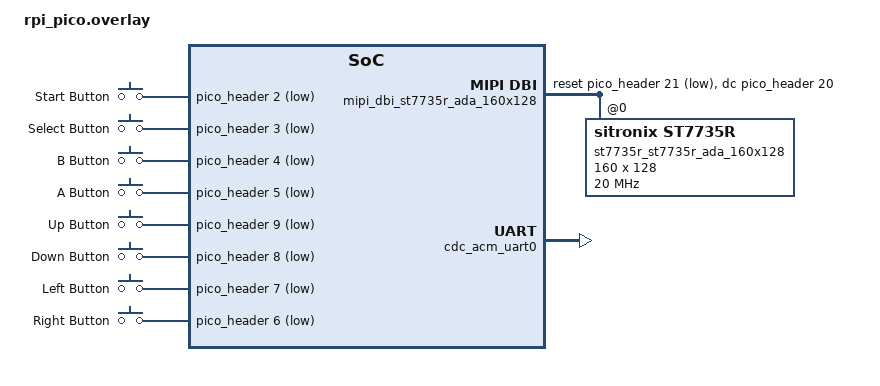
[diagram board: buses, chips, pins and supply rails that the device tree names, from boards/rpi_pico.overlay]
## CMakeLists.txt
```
cmake_minimum_required(VERSION 3.20.0)

find_package(Zephyr REQUIRED HINTS $ENV{ZEPHYR_BASE})
find_package(etl REQUIRED)
FILE(GLOB app_sources src/*.cpp)
# target_compile_options(app PRIVATE -DLUA_32BITS -DLUA_C89_NUMBERS)
target_sources(app PRIVATE ${app_sources})
target_sources(app PRIVATE src/subsystems/display.cpp)
target_sources(app PRIVATE src/subsystems/graphics.cpp)
target_sources(app PRIVATE src/states/page/main_menu.cpp)
project(gb_emu)


if(CONFIG_VROOM_ENABLE_GAMES)
    target_sources(app PRIVATE src/states/game/pong.cpp)
    # target_sources(app PRIVATE src/states/game/snake.cpp)
    # target_sources(app PRIVATE src/states/game/sudoku.cpp)
endif()


if(CONFIG_USE_PHYSICAL_CONTROLS)
    target_sources(app PRIVATE src/subsystems/controls.cpp)
elseif(CONFIG_USE_BT_CONTROLLER)
endif()


if(CONFIG_VROOM_ENABLE_UTILITIES)
    if(CONFIG_VROOM_ENABLE_WIFI)
        target_sources(app PRIVATE src/connectivity/wifi.cpp)
        target_sources(app PRIVATE src/states/page/wifi_page.cpp)
    endif()

    if(CONFIG_VROOM_ENABLE_BT)
        target_sources(app PRIVATE src/connectivity/bt.cpp)
    endif()

    # if(CONFIG_BATTMAN_SEND_BATT_SIGNAL)
    #     target_sources(app PRIVATE src/subsystems/battman.cpp)
    # endif()
endif()

zephyr_include_directories(../modules/etl)

if(CONFIG_LUA)
    zephyr_include_directories(../modules/lua)
endif()


target_link_libraries(app PRIVATE etl::etl)
target_sources(app PRIVATE src/main.cpp)

# if(CONFIG_VROOM_ENABLE_GB_EMULATOR)
#     include_directories(
#         ../emu_core/inc
#         ../emu_core/src
#     )
#     target_sources(app PRIVATE
#         ../emu_core/src/cpu.cpp
#         ../emu_core/src/registers.cpp
#         ../emu_core/src/process.cpp
#         ../emu_core/src/instructions.cpp
#         ../emu_core/src/cart.cpp
#     )
# endif()
```

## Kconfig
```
source "Kconfig.zephyr"

config VROOM_ENABLE_WIFI
	bool "Enable WIFI"
	default n

config VROOM_ENABLE_BT
	bool "Enable Bluetooth"
	default y

config BATTMAN_USE_UTILITY_BELT
	bool "Battman has more tools available with the utility belt"
	default y

config BATTMAN_SEND_BATT_SIGNAL
	bool "Battman has more tools available with the utility belt"
	default y

config USE_PHYSICAL_CONTROLS
	bool "Use the buttons on the console"
	default y

config VROOM_ENABLE_GAMES
	bool "Battman has more tools available with the utility belt"
	default y

config VROOM_ENABLE_GB_EMULATOR
	bool "Battman has more tools available with the utility belt"
	default n

config VROOM_ENABLE_UTILITIES
	bool "Battman has more tools available with the utility belt"
	default y
```

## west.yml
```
# The west manifest file for upstream Zephyr.
#
# The per-installation west configuration file, .west/config, sets the
# path to the project containing this file in the [manifest] section's
# "path" variable.
#
# You are free to create your own manifest files and put them in any
# repository you want, to create your own custom Zephyr installations.
# For example, you could create a manifest file in your own out of
# tree application directory, which would pull this zephyr repository
# in as an ordinary project.
#
# You can pass your manifest repositories to west init when creating a
# new Zephyr installation. See the west documentation for more
# information.

manifest:
  defaults:
    remote: upstream

  remotes:
    - name: upstream
      url-base: https://github.com/zephyrproject-rtos
    - name: etl
      url-base: https://github.com/ETLCPP
    - name: lua
      url-base: https://github.com/tenllado


  #
  # Please add items below based on alphabetical order
  projects:
    - name: zephyr
      remote: upstream
      repo-path: zephyr
      revision: main
      import: true
      path: zephyr
      import:
        path-prefix: deps
        name-allowlist:
          - cmsis      # required by the ARM port
          - hal_atmel # required by the custom_plank board (Nordic based)
          - hal_stm32  # required by the nucleo_f302r8 board (STM32 based)
          - hal_st  # required by the nucleo_f302r8 board (STM32 based)
          - hal_espressif  # required by the nucleo_f302r8 board (STM32 based)
          - hal_xtensa  # required by the nucleo_f302r8 board (STM32 based)
          - lvgl
          - mbedtls
          - mcuboot
          - tinycrypt

    - name: etl_base
      remote: etl
      repo-path: etl
      revision: 20.36.1
      path: deps/modules/etl

    - name: lua_base
      remote: lua
      repo-path: lua
      revision: zephyr
      path: deps/modules/lua

  self:
    path: zephyr
    west-commands: scripts/west-commands.yml
```

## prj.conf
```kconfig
CONFIG_CPP=y
CONFIG_GLIBCXX_LIBCPP=y
# CONFIG_NEWLIB_LIBC=y

# CONFIG_I2C=n
CONFIG_SIZE_OPTIMIZATIONS=y

# Display
CONFIG_DISPLAY=y
CONFIG_DISPLAY_LOG_LEVEL_WRN=y
CONFIG_ST7735R=y

CONFIG_LVGL=y
# CONFIG_LV_MEM_CUSTOM=n
# CONFIG_LV_Z_MEM_POOL_SIZE=16384
CONFIG_LV_Z_MEM_POOL_SIZE=49152
CONFIG_LV_USE_LOG=n
CONFIG_LV_USE_LABEL=y
CONFIG_LV_USE_BTN=y
CONFIG_LV_USE_IMG=y
CONFIG_LV_FONT_MONTSERRAT_20=y
CONFIG_LV_COLOR_16_SWAP=y

# System config
CONFIG_INIT_STACKS=y
CONFIG_MAIN_STACK_SIZE=49152
# CONFIG_LOG=y
# CONFIG_LOG_MAX_LEVEL=0
# CONFIG_LOG_MODE_IMMEDIATE=y

# Console
CONFIG_CONSOLE=y
CONFIG_UART_CONSOLE=y
CONFIG_UART_LINE_CTRL=y

CONFIG_GPIO=y

# for lua
# CONFIG_FILE_SYSTEM=y
# # Choose between NEWLIB_LIBC or CONFIG_PICOLIBC
# # Currently PICOLIBC only requires one missing stub and newlib three
# # But requires the change of pull request https://github.com/zephyrproject-rtos/zephyr/pull/57832
# # CONFIG_NEWLIB_LIBC=y
CONFIG_PICOLIBC=y
# CONFIG_POSIX_API=y
# CONFIG_LUA=y

# CONFIG_THREAD_ANALYZER=y
# CONFIG_THREAD_ANALYZER_USE_LOG=y

# Settings
# CONFIG_STDOUT_CONSOLE=y
# CONFIG_FLASH=y
# CONFIG_FLASH_PAGE_LAYOUT=y
# CONFIG_FLASH_MAP=y

# CONFIG_SETTINGS=y
# CONFIG_SETTINGS_RUNTIME=y


# VROOM
# CONFIG_VROOM_ENABLE_WIFI=y
CONFIG_COMPILER_TRACK_MACRO_EXPANSION=n
# CONFIG_PWM=y

# # MPU 6050 stuff
# CONFIG_I2C=y
# CONFIG_SENSOR=y
# CONFIG_MPU6050_TRIGGER_NONE=n
# CONFIG_CBPRINTF_FP_SUPPORT=y

# CONFIG_LED_STRIP=y
# CONFIG_LED_STRIP_LOG_LEVEL_DBG=y
```

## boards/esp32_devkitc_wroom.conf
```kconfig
CONFIG_HEAP_MEM_POOL_SIZE=2048
CONFIG_NVS=y
CONFIG_SETTINGS_NVS=y
CONFIG_MPU_ALLOW_FLASH_WRITE=y

# Wifi stuff
CONFIG_WIFI=y
CONFIG_INIT_STACKS=y
CONFIG_NET_L2_WIFI_MGMT=y

CONFIG_NETWORKING=y
CONFIG_NET_L2_ETHERNET=y

CONFIG_NET_IPV4=y
CONFIG_NET_IPV6=y
CONFIG_NET_UDP=y
CONFIG_NET_TCP=y
CONFIG_DNS_RESOLVER=y
CONFIG_DNS_RESOLVER_AI_MAX_ENTRIES=10

CONFIG_NET_SOCKETS=y
CONFIG_HTTP_CLIENT=y

# Use DHCP for IPv4
CONFIG_NET_DHCPV4=y

# Or assign a static IP address (useful for testing)
# Following line must be enabled, otherwise WiFi connection fails with -1.
CONFIG_NET_CONFIG_SETTINGS=y
#CONFIG_NET_CONFIG_NEED_IPV4=y
#CONFIG_NET_CONFIG_MY_IPV4_ADDR="192.168.0.12"
#CONFIG_NET_CONFIG_MY_IPV4_GW="192.168.0.254"
#CONFIG_NET_CONFIG_NEED_IPV6=y
#CONFIG_NET_CONFIG_MY_IPV6_ADDR="fe80::100"

# Enabling logging can be helpful for debugging
#CONFIG_NET_LOG=y
#CONFIG_WIFI_LOG_LEVEL_ERR=y
#CONFIG_NET_IPV6_LOG_LEVEL_DBG=y

CONFIG_NET_TX_STACK_SIZE=2048
CONFIG_NET_RX_STACK_SIZE=2048

CONFIG_NET_PKT_RX_COUNT=10
CONFIG_NET_PKT_TX_COUNT=10

CONFIG_NET_BUF_RX_COUNT=20
CONFIG_NET_BUF_TX_COUNT=20

CONFIG_NET_MAX_CONTEXTS=10
```

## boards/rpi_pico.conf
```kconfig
CONFIG_HEAP_MEM_POOL_SIZE=4096
# CONFIG_NVS=y
# CONFIG_SETTINGS_NVS=y
CONFIG_MPU_ALLOW_FLASH_WRITE=y

# # Wifi stuff
# CONFIG_WIFI=y
# CONFIG_INIT_STACKS=y
# CONFIG_NET_L2_WIFI_MGMT=y

# CONFIG_NETWORKING=y
# CONFIG_NET_L2_ETHERNET=y

# CONFIG_NET_IPV4=y
# CONFIG_NET_IPV6=y
# CONFIG_NET_UDP=y
# CONFIG_NET_TCP=y
# CONFIG_DNS_RESOLVER=y
# CONFIG_DNS_RESOLVER_AI_MAX_ENTRIES=10

# CONFIG_NET_SOCKETS=y
# CONFIG_HTTP_CLIENT=y

# # Use DHCP for IPv4
# CONFIG_NET_DHCPV4=y

# Or assign a static IP address (useful for testing)
# Following line must be enabled, otherwise WiFi connection fails with -1.
# CONFIG_NET_CONFIG_SETTINGS=y
# #CONFIG_NET_CONFIG_NEED_IPV4=y
# #CONFIG_NET_CONFIG_MY_IPV4_ADDR="192.168.0.12"
# #CONFIG_NET_CONFIG_MY_IPV4_GW="192.168.0.254"
# #CONFIG_NET_CONFIG_NEED_IPV6=y
# #CONFIG_NET_CONFIG_MY_IPV6_ADDR="fe80::100"

# # Enabling logging can be helpful for debugging
# #CONFIG_NET_LOG=y
# #CONFIG_WIFI_LOG_LEVEL_ERR=y
# #CONFIG_NET_IPV6_LOG_LEVEL_DBG=y

# CONFIG_NET_TX_STACK_SIZE=2048
# CONFIG_NET_RX_STACK_SIZE=2048

# CONFIG_NET_PKT_RX_COUNT=10
# CONFIG_NET_PKT_TX_COUNT=10

# CONFIG_NET_BUF_RX_COUNT=20
# CONFIG_NET_BUF_TX_COUNT=20

# CONFIG_NET_MAX_CONTEXTS=10


CONFIG_USB_DEVICE_STACK=y
CONFIG_USB_DEVICE_PRODUCT="Zephyr USB console sample"
CONFIG_USB_DEVICE_PID=0x0004
CONFIG_USB_DEVICE_INITIALIZE_AT_BOOT=n

CONFIG_SERIAL=y
CONFIG_CONSOLE=y
CONFIG_UART_CONSOLE=y
CONFIG_UART_LINE_CTRL=y
```

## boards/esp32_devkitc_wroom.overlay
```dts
/*
 * Copyright (c) 2020, Kim Bøndergaard, <kim@fam-boendergaard.dk>
 *
 * SPDX-License-Identifier: Apache-2.0
 */

 / {
	chosen {
		zephyr,display = &st7735r_st7735r_ada_160x128;
	};
	buttons {
		compatible = "gpio-keys";
		a_button: a_button {
			gpios = <&gpio0 16 GPIO_ACTIVE_LOW>;
			label = "A Button";
		};
		b_button: b_button {
			gpios = <&gpio0 17 GPIO_ACTIVE_LOW>;
			label = "B Button";
		};
		up_button: up_button {
			gpios = <&gpio0 5 GPIO_ACTIVE_LOW>;
			label = "Up Button";
		};
		down_button: down_button {
			gpios = <&gpio0 18 GPIO_ACTIVE_LOW>;
			label = "Down Button";
		};
		// left_button: left_button {
		// 	gpios = <&gpio0 18 GPIO_ACTIVE_LOW>;
		// 	label = "Left Button";
		// };
		// right_button: right_button {
		// 	gpios = <&gpio0 5 GPIO_ACTIVE_LOW>;
		// 	label = "Right Button";
		// };
		// start_button: start_button {
		// 	gpios = <&gpio0 5 GPIO_ACTIVE_LOW>;
		// 	label = "Start Button";
		// };
		// select_button: select_button {
		// 	gpios = <&gpio0 18 GPIO_ACTIVE_LOW>;
		// 	label = "Select Button";
		// };
	};
};

&spi2 {
	st7735r_st7735r_ada_160x128: st7735r@0 {
		compatible = "sitronix,st7735r";
		spi-max-frequency = <20000000>;
		reg = <0>;
		cmd-data-gpios = <&gpio0 27 GPIO_ACTIVE_LOW>;	/* D9 */
		reset-gpios = <&gpio0 26 GPIO_ACTIVE_LOW>;	/* D8 */
		width = <160>;
		height = <128>;
		x-offset = <0>;
		y-offset = <0>;
		madctl = <0x60>;
		colmod = <0x55>;
		vmctr1 = <0x0e>;
		pwctr1 = [a2 02 84];
		pwctr2 = [c5];
		pwctr3 = [0a 00];
		pwctr4 = [8a 2a];
		pwctr5 = [8a ee];
		frmctr1 = [01 2c 2d];
		frmctr2 = [01 2c 2d];
		frmctr3 = [01 2c 2d 01 2c 2d];
		gamctrp1 = [02 1c 07 12 37 32 29 2d 29 25 2b 39 00 01 03 10];
		gamctrn1 = [03 1d 07 06 2e 2c 29 2d 2e 2e 37 3f 00 00 02 10];
	};
};

// &spi1 {
// 	status = "okay";
// 	cs-gpios = <&porta 27 GPIO_ACTIVE_LOW>;

// 	sdhc0: sdhc@0 {
// 			compatible = "zephyr,sdhc-spi-slot";
// 			reg = <0>;
// 			status = "okay";
// 			mmc {
// 				compatible = "zephyr,sdmmc-disk";
// 				status = "okay";
// 			};
// 			spi-max-frequency = <24000000>;
// 	};
// };


&wifi {
	status = "okay";
};

&uart1 {
	status="disabled";
};

&uart2 {
	status="disabled";
};

&pinctrl {
	spim2_default: spim2_default {
		group1 {
			pinmux = <SPIM2_MISO_GPIO12>,
					<SPIM2_SCLK_GPIO14>,
					<SPIM2_CSEL_GPIO15>;
		};
		group2 {
			pinmux = <SPIM2_MOSI_GPIO13>;
			output-low;
		};
	};
};
```

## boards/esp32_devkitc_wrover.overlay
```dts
/*
 * Copyright (c) 2020, Kim Bøndergaard, <kim@fam-boendergaard.dk>
 *
 * SPDX-License-Identifier: Apache-2.0
 */

 / {
	chosen {
		zephyr,display = &st7735r_st7735r_ada_160x128;
	};
	buttons {
		compatible = "gpio-keys";
		a_button: a_button {
			gpios = <&gpio0 16 GPIO_ACTIVE_LOW>;
			label = "A Button";
		};
		b_button: b_button {
			gpios = <&gpio0 17 GPIO_ACTIVE_LOW>;
			label = "B Button";
		};
		up_button: up_button {
			gpios = <&gpio0 5 GPIO_ACTIVE_LOW>;
			label = "Up Button";
		};
		down_button: down_button {
			gpios = <&gpio0 18 GPIO_ACTIVE_LOW>;
			label = "Down Button";
		};
		// left_button: left_button {
		// 	gpios = <&gpio0 18 GPIO_ACTIVE_LOW>;
		// 	label = "Left Button";
		// };
		// right_button: right_button {
		// 	gpios = <&gpio0 5 GPIO_ACTIVE_LOW>;
		// 	label = "Right Button";
		// };
		// start_button: start_button {
		// 	gpios = <&gpio0 5 GPIO_ACTIVE_LOW>;
		// 	label = "Start Button";
		// };
		// select_button: select_button {
		// 	gpios = <&gpio0 18 GPIO_ACTIVE_LOW>;
		// 	label = "Select Button";
		// };
	};
};

&spi2 {
	st7735r_st7735r_ada_160x128: st7735r@0 {
		compatible = "sitronix,st7735r";
		spi-max-frequency = <20000000>;
		reg = <0>;
		cmd-data-gpios = <&gpio0 27 GPIO_ACTIVE_LOW>;	/* D9 */
		reset-gpios = <&gpio0 26 GPIO_ACTIVE_LOW>;	/* D8 */
		width = <160>;
		height = <128>;
		x-offset = <0>;
		y-offset = <0>;
		madctl = <0x60>;
		colmod = <0x55>;
		vmctr1 = <0x0e>;
		pwctr1 = [a2 02 84];
		pwctr2 = [c5];
		pwctr3 = [0a 00];
		pwctr4 = [8a 2a];
		pwctr5 = [8a ee];
		frmctr1 = [01 2c 2d];
		frmctr2 = [01 2c 2d];
		frmctr3 = [01 2c 2d 01 2c 2d];
		gamctrp1 = [02 1c 07 12 37 32 29 2d 29 25 2b 39 00 01 03 10];
		gamctrn1 = [03 1d 07 06 2e 2c 29 2d 2e 2e 37 3f 00 00 02 10];
	};
};

&pinctrl {
	spim2_default: spim2_default {
		group1 {
			pinmux = <SPIM2_MISO_GPIO12>,
					<SPIM2_SCLK_GPIO14>,
					<SPIM2_CSEL_GPIO15>;
		};
		group2 {
			pinmux = <SPIM2_MOSI_GPIO13>;
			output-low;
		};
	};
};
```

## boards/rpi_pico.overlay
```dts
/*
 * Copyright (c) 2020, Kim Bøndergaard, <kim@fam-boendergaard.dk>
 *
 * SPDX-License-Identifier: Apache-2.0
 */
 #include <zephyr/dt-bindings/mipi_dbi/mipi_dbi.h>
 #include <zephyr/dt-bindings/led/led.h>

 / {
	chosen {
		zephyr,console = &cdc_acm_uart0;
		zephyr,shell-uart = &cdc_acm_uart0;
		zephyr,uart-mcumgr = &cdc_acm_uart0;
		zephyr,display = &st7735r_st7735r_ada_160x128;
	};

	buttons {
		compatible = "gpio-keys";
		start_button: start_button {
			gpios = <&pico_header 2 (GPIO_ACTIVE_LOW | GPIO_PULL_UP)>;
			label = "Start Button";
		};
		select_button: select_button {
			gpios = <&pico_header 3 (GPIO_ACTIVE_LOW | GPIO_PULL_UP)>;
			label = "Select Button";
		};
		b_button: b_button {
			gpios = <&pico_header 4 (GPIO_ACTIVE_LOW | GPIO_PULL_UP)>;
			label = "B Button";
		};
		a_button: a_button {
			gpios = <&pico_header 5 (GPIO_ACTIVE_LOW | GPIO_PULL_UP)>;
			label = "A Button";
		};
		up_button: up_button {
			gpios = <&pico_header 9 (GPIO_ACTIVE_LOW | GPIO_PULL_UP)>;
			label = "Up Button";
		};
		down_button: down_button {
			gpios = <&pico_header 8 (GPIO_ACTIVE_LOW | GPIO_PULL_UP)>;
			label = "Down Button";
		};
		left_button: left_button {
			gpios = <&pico_header 7 (GPIO_ACTIVE_LOW | GPIO_PULL_UP)>;
			label = "Left Button";
		};
		right_button: right_button {
			gpios = <&pico_header 6 (GPIO_ACTIVE_LOW | GPIO_PULL_UP)>;
			label = "Right Button";
		};
	};

	mipi_dbi_st7735r_ada_160x128 {
		compatible = "zephyr,mipi-dbi-spi";
		spi-dev = <&spi0>;
		dc-gpios = <&pico_header 20 GPIO_ACTIVE_HIGH>;	/* D9 */
		reset-gpios = <&pico_header 21 GPIO_ACTIVE_LOW>;	/* D8 */
		#address-cells = <1>;
		#size-cells = <0>;

		st7735r_st7735r_ada_160x128: st7735r@0 {
			compatible = "sitronix,st7735r";
			mipi-max-frequency = <20000000>;
			mipi-mode = <MIPI_DBI_MODE_SPI_4WIRE>;
			reg = <0>;
			width = <160>;
			height = <128>;
			x-offset = <0>;
			y-offset = <0>;
			madctl = <0x60>;
			colmod = <0x55>;
			vmctr1 = <0x0e>;
			pwctr1 = [a2 02 84];
			pwctr2 = [c5];
			pwctr3 = [0a 00];
			pwctr4 = [8a 2a];
			pwctr5 = [8a ee];
			frmctr1 = [01 2c 2d];
			frmctr2 = [01 2c 2d];
			frmctr3 = [01 2c 2d 01 2c 2d];
			gamctrp1 = [02 1c 07 12 37 32 29 2d 29 25 2b 39 00 01 03 10];
			gamctrn1 = [03 1d 07 06 2e 2c 29 2d 2e 2e 37 3f 00 00 02 10];
		};
	};
	aliases {
		// buzzerpwm = &buzzer;
		// led-strip = &ws2812;
	};

	// pwmbuzzer {
	// 	compatible = "pwm-leds";
	// 	status = "okay";

	// 	buzzer: buzzer_pwm {
	// 		pwms = <&pwm 0 PWM_HZ(880) PWM_POLARITY_NORMAL>;
	// 		label = "PWM_1";
	// 	};
	// };
};


// &spi1 {
//     compatible = "raspberrypi,spi";
//     status = "okay";
//     sck-pin = <10>;
//     mosi-pin = <11>;
//     miso-pin = <12>;

//     cs-gpios = <&pico_header 13 GPIO_ACTIVE_LOW>;

// 	sdhc0: sdhc@0 {
// 		compatible = "zephyr,sdhc-spi-slot";
// 		reg = <0>;
// 		status = "okay";
// 		mmc {
// 			compatible = "zephyr,sdmmc-disk";
// 			status = "okay";
// 		};
// 		spi-max-frequency = <24000000>;
// 	};
// };


&zephyr_udc0 {
	cdc_acm_uart0: cdc_acm_uart0 {
		compatible = "zephyr,cdc-acm-uart";
	};
};

// &pio0 {
// 	status = "okay";

// 	pio-ws2812 {
// 		compatible = "worldsemi,ws2812-rpi_pico-pio";
// 		status = "okay";
// 		pinctrl-0 = <&ws2812_pio0_default>;
// 		pinctrl-names = "default";
// 		bit-waveform = <3>, <3>, <4>;

// 		ws2812: ws2812 {
// 			status = "okay";
// 			gpios = <&pico_header 15 GPIO_ACTIVE_HIGH>;
// 			chain-length = <256>;
// 			color-mapping = <LED_COLOR_ID_GREEN
// 							 LED_COLOR_ID_RED
// 							 LED_COLOR_ID_BLUE>;
// 			reset-delay = <280>;
// 			frequency = <800000>;
// 		};
// 	};
// };

// &pwm {
// 	status="okay";
// 	pinctrl-0 = <&pwm_ch3a_default>;
// 	pinctrl-names = "default";
// 	divider-int-4 = <255>;
// };

// &i2c0 {
// 	mpu6050@68 {
// 		compatible = "invensense,mpu6050";
// 		reg = <0x68>;
// 		status = "okay";
// 		int-gpios = <&pico_header 6 GPIO_ACTIVE_HIGH>;
// 	};
// };

&pinctrl {
	// pwm_ch3a_default: pwm_ch3a_default {
	// 	group1 {
	// 		pinmux = <PWM_3A_P22>;
	// 	};
	// };
	// ws2812_pio0_default: ws2812_pio0_default {
	// 	ws2812 {
	// 		pinmux = <PIO0_P15>;
	// 	};
	// };
};
```

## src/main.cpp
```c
#include <zephyr/kernel.h>
#include <zephyr/usb/usb_device.h>
#include <zephyr/usb/usbd.h>
#include <zephyr/drivers/uart.h>
#include <zephyr/logging/log.h>
LOG_MODULE_REGISTER(main_mayne, LOG_LEVEL_DBG);

#include "../inc/subsystems/display.hh"
#include "../inc/subsystems/controls.hh"
#include "../inc/engine.hh"
#include "../inc/connectivity/wifi.hh"

BUILD_ASSERT(DT_NODE_HAS_COMPAT(DT_CHOSEN(zephyr_console), zephyr_cdc_acm_uart),
	     "Console device is not ACM CDC UART device");



void process_engine(lv_timer_t * timer)
{
	vroom::Engine* e = (vroom::Engine*)timer->user_data;
	e->process();
}
int main(void)
{
	int ret = usb_enable(NULL);
	if (ret != 0) {
		LOG_ERR("Failed to enable USB");
		return 0;
	}

	static Controls        controls { };
	static Display         display  { };
	static vroom::Engine   engine   { &controls, &display};

	lv_timer_create(process_engine, 30, &engine);

	while (1)
	{
		// engine.process();
		lv_timer_handler();
		k_msleep(30);
	}
	return 0;
}
```

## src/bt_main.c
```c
/* main.c - Application main entry point */

/*
 * Copyright (c) 2015-2016 Intel Corporation
 *
 * SPDX-License-Identifier: Apache-2.0
 */

#include <zephyr/types.h>
#include <stddef.h>
#include <string.h>
#include <errno.h>
#include <zephyr/sys/printk.h>
#include <zephyr/sys/byteorder.h>
#include <zephyr/kernel.h>

#include <zephyr/settings/settings.h>

#include <zephyr/bluetooth/bluetooth.h>
#include <zephyr/bluetooth/hci.h>
#include <zephyr/bluetooth/conn.h>
#include <zephyr/bluetooth/uuid.h>
#include <zephyr/bluetooth/gatt.h>
#include <zephyr/bluetooth/services/bas.h>
#include <zephyr/bluetooth/services/hrs.h>
#include <zephyr/bluetooth/services/ias.h>

#include "cts.h"

/* Custom Service Variables */
#define BT_UUID_CUSTOM_SERVICE_VAL \
	BT_UUID_128_ENCODE(0x12345678, 0x1234, 0x5678, 0x1234, 0x56789abcdef0)

static struct bt_uuid_128 vnd_uuid = BT_UUID_INIT_128(
	BT_UUID_CUSTOM_SERVICE_VAL);

static struct bt_uuid_128 vnd_enc_uuid = BT_UUID_INIT_128(
	BT_UUID_128_ENCODE(0x12345678, 0x1234, 0x5678, 0x1234, 0x56789abcdef1));

static struct bt_uuid_128 vnd_auth_uuid = BT_UUID_INIT_128(
	BT_UUID_128_ENCODE(0x12345678, 0x1234, 0x5678, 0x1234, 0x56789abcdef2));

#define VND_MAX_LEN 20

static uint8_t vnd_value[VND_MAX_LEN + 1] = { 'V', 'e', 'n', 'd', 'o', 'r'};
static uint8_t vnd_auth_value[VND_MAX_LEN + 1] = { 'V', 'e', 'n', 'd', 'o', 'r'};
static uint8_t vnd_wwr_value[VND_MAX_LEN + 1] = { 'V', 'e', 'n', 'd', 'o', 'r' };

static ssize_t read_vnd(struct bt_conn *conn, const struct bt_gatt_attr *attr,
			void *buf, uint16_t len, uint16_t offset)
{
	const char *value = attr->user_data;

	return bt_gatt_attr_read(conn, attr, buf, len, offset, value,
				 strlen(value));
}

static ssize_t write_vnd(struct bt_conn *conn, const struct bt_gatt_attr *attr,
			 const void *buf, uint16_t len, uint16_t offset,
			 uint8_t flags)
{
	uint8_t *value = attr->user_data;

	if (offset + len > VND_MAX_LEN) {
		return BT_GATT_ERR(BT_ATT_ERR_INVALID_OFFSET);
	}

	memcpy(value + offset, buf, len);
	value[offset + len] = 0;

	return len;
}

static uint8_t simulate_vnd;
static uint8_t indicating;
static struct bt_gatt_indicate_params ind_params;

static void vnd_ccc_cfg_changed(const struct bt_gatt_attr *attr, uint16_t value)
{
	simulate_vnd = (value == BT_GATT_CCC_INDICATE) ? 1 : 0;
}

static void indicate_cb(struct bt_conn *conn,
			struct bt_gatt_indicate_params *params, uint8_t err)
{
	printk("Indication %s\n", err != 0U ? "fail" : "success");
}

static void indicate_destroy(struct bt_gatt_indicate_params *params)
{
	printk("Indication complete\n");
	indicating = 0U;
}

#define VND_LONG_MAX_LEN 74
static uint8_t vnd_long_value[VND_LONG_MAX_LEN + 1] = {
		  'V', 'e', 'n', 'd', 'o', 'r', ' ', 'd', 'a', 't', 'a', '1',
		  'V', 'e', 'n', 'd', 'o', 'r', ' ', 'd', 'a', 't', 'a', '2',
		  'V', 'e', 'n', 'd', 'o', 'r', ' ', 'd', 'a', 't', 'a', '3',
		  'V', 'e', 'n', 'd', 'o', 'r', ' ', 'd', 'a', 't', 'a', '4',
		  'V', 'e', 'n', 'd', 'o', 'r', ' ', 'd', 'a', 't', 'a', '5',
		  'V', 'e', 'n', 'd', 'o', 'r', ' ', 'd', 'a', 't', 'a', '6',
		  '.', ' ' };

static ssize_t write_long_vnd(struct bt_conn *conn,
			      const struct bt_gatt_attr *attr, const void *buf,
			      uint16_t len, uint16_t offset, uint8_t flags)
{
	uint8_t *value = attr->user_data;

	if (flags & BT_GATT_WRITE_FLAG_PREPARE) {
		return 0;
	}

	if (offset + len > VND_LONG_MAX_LEN) {
		return BT_GATT_ERR(BT_ATT_ERR_INVALID_OFFSET);
	}

	memcpy(value + offset, buf, len);
	value[offset + len] = 0;

	return len;
}

static const struct bt_uuid_128 vnd_long_uuid = BT_UUID_INIT_128(
	BT_UUID_128_ENCODE(0x12345678, 0x1234, 0x5678, 0x1234, 0x56789abcdef3));

static struct bt_gatt_cep vnd_long_cep = {
	.properties = BT_GATT_CEP_RELIABLE_WRITE,
};

static int signed_value;

static ssize_t read_signed(struct bt_conn *conn, const struct bt_gatt_attr *attr,
			   void *buf, uint16_t len, uint16_t offset)
{
	const char *value = attr->user_data;

	return bt_gatt_attr_read(conn, attr, buf, len, offset, value,
				 sizeof(signed_value));
}

static ssize_t write_signed(struct bt_conn *conn, const struct bt_gatt_attr *attr,
			    const void *buf, uint16_t len, uint16_t offset,
			    uint8_t flags)
{
	uint8_t *value = attr->user_data;

	if (offset + len > sizeof(signed_value)) {
		return BT_GATT_ERR(BT_ATT_ERR_INVALID_OFFSET);
	}

	memcpy(value + offset, buf, len);

	return len;
}

static const struct bt_uuid_128 vnd_signed_uuid = BT_UUID_INIT_128(
	BT_UUID_128_ENCODE(0x13345678, 0x1234, 0x5678, 0x1334, 0x56789abcdef3));

static const struct bt_uuid_128 vnd_write_cmd_uuid = BT_UUID_INIT_128(
	BT_UUID_128_ENCODE(0x12345678, 0x1234, 0x5678, 0x1234, 0x56789abcdef4));

static ssize_t write_without_rsp_vnd(struct bt_conn *conn,
				     const struct bt_gatt_attr *attr,
				     const void *buf, uint16_t len, uint16_t offset,
				     uint8_t flags)
{
	uint8_t *value = attr->user_data;

	if (!(flags & BT_GATT_WRITE_FLAG_CMD)) {
		/* Write Request received. Reject it since this Characteristic
		 * only accepts Write Without Response.
		 */
		return BT_GATT_ERR(BT_ATT_ERR_WRITE_REQ_REJECTED);
	}

	if (offset + len > VND_MAX_LEN) {
		return BT_GATT_ERR(BT_ATT_ERR_INVALID_OFFSET);
	}

	memcpy(value + offset, buf, len);
	value[offset + len] = 0;

	return len;
}

/* Vendor Primary Service Declaration */
BT_GATT_SERVICE_DEFINE(vnd_svc,
	BT_GATT_PRIMARY_SERVICE(&vnd_uuid),
	BT_GATT_CHARACTERISTIC(&vnd_enc_uuid.uuid,
			       BT_GATT_CHRC_READ | BT_GATT_CHRC_WRITE |
			       BT_GATT_CHRC_INDICATE,
			       BT_GATT_PERM_READ_ENCRYPT |
			       BT_GATT_PERM_WRITE_ENCRYPT,
			       read_vnd, write_vnd, vnd_value),
	BT_GATT_CCC(vnd_ccc_cfg_changed,
		    BT_GATT_PERM_READ | BT_GATT_PERM_WRITE_ENCRYPT),
	BT_GATT_CHARACTERISTIC(&vnd_auth_uuid.uuid,
			       BT_GATT_CHRC_READ | BT_GATT_CHRC_WRITE,
			       BT_GATT_PERM_READ_AUTHEN |
			       BT_GATT_PERM_WRITE_AUTHEN,
			       read_vnd, write_vnd, vnd_auth_value),
	BT_GATT_CHARACTERISTIC(&vnd_long_uuid.uuid, BT_GATT_CHRC_READ |
			       BT_GATT_CHRC_WRITE | BT_GATT_CHRC_EXT_PROP,
			       BT_GATT_PERM_READ | BT_GATT_PERM_WRITE |
			       BT_GATT_PERM_PREPARE_WRITE,
			       read_vnd, write_long_vnd, &vnd_long_value),
	BT_GATT_CEP(&vnd_long_cep),
	BT_GATT_CHARACTERISTIC(&vnd_signed_uuid.uuid, BT_GATT_CHRC_READ |
			       BT_GATT_CHRC_WRITE | BT_GATT_CHRC_AUTH,
			       BT_GATT_PERM_READ | BT_GATT_PERM_WRITE,
			       read_signed, write_signed, &signed_value),
	BT_GATT_CHARACTERISTIC(&vnd_write_cmd_uuid.uuid,
			       BT_GATT_CHRC_WRITE_WITHOUT_RESP,
			       BT_GATT_PERM_WRITE, NULL,
			       write_without_rsp_vnd, &vnd_wwr_value),
);

static const struct bt_data ad[] = {
	BT_DATA_BYTES(BT_DATA_FLAGS, (BT_LE_AD_GENERAL | BT_LE_AD_NO_BREDR)),
	BT_DATA_BYTES(BT_DATA_UUID16_ALL,
		      BT_UUID_16_ENCODE(BT_UUID_HRS_VAL),
		      BT_UUID_16_ENCODE(BT_UUID_BAS_VAL),
		      BT_UUID_16_ENCODE(BT_UUID_CTS_VAL)),
	BT_DATA_BYTES(BT_DATA_UUID128_ALL, BT_UUID_CUSTOM_SERVICE_VAL),
};

void mtu_updated(struct bt_conn *conn, uint16_t tx, uint16_t rx)
{
	printk("Updated MTU: TX: %d RX: %d bytes\n", tx, rx);
}

static struct bt_gatt_cb gatt_callbacks = {
	.att_mtu_updated = mtu_updated
};

static void connected(struct bt_conn *conn, uint8_t err)
{
	if (err) {
		printk("Connection failed (err 0x%02x)\n", err);
	} else {
		printk("Connected\n");
	}
}

static void disconnected(struct bt_conn *conn, uint8_t reason)
{
	printk("Disconnected (reason 0x%02x)\n", reason);
}

static void alert_stop(void)
{
	printk("Alert stopped\n");
}

static void alert_start(void)
{
	printk("Mild alert started\n");
}

static void alert_high_start(void)
{
	printk("High alert started\n");
}

BT_CONN_CB_DEFINE(conn_callbacks) = {
	.connected = connected,
	.disconnected = disconnected,
};

BT_IAS_CB_DEFINE(ias_callbacks) = {
	.no_alert = alert_stop,
	.mild_alert = alert_start,
	.high_alert = alert_high_start,
};

static void bt_ready(void)
{
	int err;

	printk("Bluetooth initialized\n");

	cts_init();

	if (IS_ENABLED(CONFIG_SETTINGS)) {
		settings_load();
	}

	err = bt_le_adv_start(BT_LE_ADV_CONN_NAME, ad, ARRAY_SIZE(ad), NULL, 0);
	if (err) {
		printk("Advertising failed to start (err %d)\n", err);
		return;
	}

	printk("Advertising successfully started\n");
}

static void auth_passkey_display(struct bt_conn *conn, unsigned int passkey)
{
	char addr[BT_ADDR_LE_STR_LEN];

	bt_addr_le_to_str(bt_conn_get_dst(conn), addr, sizeof(addr));

	printk("Passkey for %s: %06u\n", addr, passkey);
}

static void auth_cancel(struct bt_conn *conn)
{
	char addr[BT_ADDR_LE_STR_LEN];

	bt_addr_le_to_str(bt_conn_get_dst(conn), addr, sizeof(addr));

	printk("Pairing cancelled: %s\n", addr);
}

static struct bt_conn_auth_cb auth_cb_display = {
	.passkey_display = auth_passkey_display,
	.passkey_entry = NULL,
	.cancel = auth_cancel,
};

static void bas_notify(void)
{
	uint8_t battery_level = bt_bas_get_battery_level();

	battery_level--;

	if (!battery_level) {
		battery_level = 100U;
	}

	bt_bas_set_battery_level(battery_level);
}

static void hrs_notify(void)
{
	static uint8_t heartrate = 90U;

	/* Heartrate measurements simulation */
	heartrate++;
	if (heartrate == 160U) {
		heartrate = 90U;
	}

	bt_hrs_notify(heartrate);
}

int main(void)
{
	struct bt_gatt_attr *vnd_ind_attr;
	char str[BT_UUID_STR_LEN];
	int err;

	err = bt_enable(NULL);
	if (err) {
		printk("Bluetooth init failed (err %d)\n", err);
		return 0;
	}

	bt_ready();

	bt_gatt_cb_register(&gatt_callbacks);
	bt_conn_auth_cb_register(&auth_cb_display);

	vnd_ind_attr = bt_gatt_find_by_uuid(vnd_svc.attrs, vnd_svc.attr_count,
					    &vnd_enc_uuid.uuid);
	bt_uuid_to_str(&vnd_enc_uuid.uuid, str, sizeof(str));
	printk("Indicate VND attr %p (UUID %s)\n", vnd_ind_attr, str);

	/* Implement notification. At the moment there is no suitable way
	 * of starting delayed work so we do it here
	 */
	while (1) {
		k_sleep(K_SECONDS(1));

		/* Current Time Service updates only when time is changed */
		cts_notify();

		/* Heartrate measurements simulation */
		hrs_notify();

		/* Battery level simulation */
		bas_notify();

		/* Vendor indication simulation */
		if (simulate_vnd && vnd_ind_attr) {
			if (indicating) {
				continue;
			}

			ind_params.attr = vnd_ind_attr;
			ind_params.func = indicate_cb;
			ind_params.destroy = indicate_destroy;
			ind_params.data = &indicating;
			ind_params.len = sizeof(indicating);

			if (bt_gatt_indicate(NULL, &ind_params) == 0) {
				indicating = 1U;
			}
		}
	}
	return 0;
}
```

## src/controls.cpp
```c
#include "../inc/controls.hh"

#include <zephyr/logging/log.h>
LOG_MODULE_REGISTER(controls, LOG_LEVEL_DBG);


struct gpio_callback            Controls::cb_data[InputType::NUM_INPUTS]          { };
struct k_timer                  Controls::button_timers[InputType::NUM_INPUTS]    { };
uint64_t                        Controls::last_time[InputType::NUM_INPUTS]        { };
etl::queue<Controls::InputType, Controls::INPUT_QUEUE_SIZE> Controls::input_queue { };

Controls::TriggerType           Controls::trigger_mapping[InputType::NUM_INPUTS]  {
    Controls::TriggerType::ONE_SHOT,
    Controls::TriggerType::ONE_SHOT,
    // Controls::TriggerType::PERIODIC,
    // Controls::TriggerType::PERIODIC,
    Controls::TriggerType::PERIODIC,
    Controls::TriggerType::PERIODIC,
    Controls::TriggerType::PERIODIC,
    Controls::TriggerType::PERIODIC
};


struct gpio_dt_spec Controls::button[InputType::NUM_INPUTS] {
    GPIO_DT_SPEC_GET(DT_NODELABEL(a_button), gpios),
    GPIO_DT_SPEC_GET(DT_NODELABEL(b_button), gpios),
    GPIO_DT_SPEC_GET(DT_NODELABEL(up_button), gpios),
    GPIO_DT_SPEC_GET(DT_NODELABEL(down_button), gpios)
};


#define DEBOUNCE_TIMEOUT_MS 150
#define TIMER_RETRIGGER_MS 50


/*
    Button timer handlers
*/
void Controls::timer_handler(Controls::InputType input)
{
    Controls::input_queue.push(input);

    if(!gpio_pin_get_dt(&button[input]))
    {
        k_timer_stop(&button_timers[input]);
    }
}


void Controls::a_button_timer_handler(struct k_timer *dummy)
{
    Controls::timer_handler(InputType::A);
}


void Controls::b_button_timer_handler(struct k_timer *dummy)
{
   Controls::timer_handler(InputType::B);
}


void Controls::up_button_timer_handler(struct k_timer *dummy)
{
   Controls::timer_handler(InputType::UP);
}


void Controls::down_button_timer_handler(struct k_timer *dummy)
{
   Controls::timer_handler(InputType::DOWN);
}


void Controls::clear_queue()
{
}


Controls::Controls()
{
    // Init buttons
    bool a      = init_gpio_pin(InputType::A,      down_button_timer_handler,   down_button_pressed);
    bool b      = init_gpio_pin(InputType::B,      b_button_timer_handler,      b_button_pressed);
    bool up     = init_gpio_pin(InputType::UP,     up_button_timer_handler,     up_button_pressed);
    bool down   = init_gpio_pin(InputType::DOWN,   down_button_timer_handler,   down_button_pressed);
    // bool left   = init_gpio_pin(InputType::LEFT,   left_button_timer_handler,   left_button_pressed);
    // bool right  = init_gpio_pin(InputType::RIGHT,  right_button_timer_handler,  right_button_pressed);
    // bool start  = init_gpio_pin(InputType::START,  start_button_timer_handler,  start_button_pressed);
    // bool select = init_gpio_pin(InputType::SELECT, select_button_timer_handler, select_button_pressed);

//     LOG_INF("|   Button Status   |\n |-------------------|\n | A | B | UP | DOWN |\n| %d | %d | %d  |  %d   |",
//             //  | LEFT | RIGHT | START | SELECT |\n \
//             //  | %d | %d | %d  |  %d   |",
//              a, b, up, down);
//             //  left, right, start, select);
}


bool Controls::init_gpio_pin(InputType input, k_timer_expiry_t timer_fn, gpio_callback_handler_t gpio_cb)
{
    if (device_is_ready(button[input].port))
    {
        int ret = gpio_pin_configure_dt(&button[input], GPIO_INPUT);

        ret = gpio_pin_interrupt_configure_dt(&button[input], GPIO_INT_EDGE_TO_ACTIVE);
        gpio_init_callback(&cb_data[input], gpio_cb , BIT(button[input].pin));
        gpio_add_callback(button[input].port, &cb_data[input]);
        k_timer_init(&Controls::button_timers[input], timer_fn, NULL);

        return ret == 0;
    }
    return false;
}


Controls::~Controls()
{

}


const Controls::InputType Controls::get_last_pressed()
{
    if(!input_queue.empty())
    {
        Controls::InputType last_pressed;
        input_queue.pop_into(last_pressed);
        return last_pressed;
    }

    return Controls::InputType::NONE;
}


/*
    Button Handlers
*/
void Controls::handle_button(Controls::InputType input)
{
    uint64_t now = k_uptime_get();
    if ((now - Controls::last_time[input]) > DEBOUNCE_TIMEOUT_MS)
    {
        if(Controls::trigger_mapping[input] == Controls::TriggerType::PERIODIC)
        {
            k_timer_start(&button_timers[input],
                        K_MSEC(TIMER_RETRIGGER_MS),
                        K_MSEC(TIMER_RETRIGGER_MS));
        }
        else if(Controls::trigger_mapping[input] == Controls::TriggerType::ONE_SHOT)
        {
            Controls::input_queue.push(input);
        }
    }

    Controls::last_time[input] = now;
}


void Controls::a_button_pressed(const struct device *dev,
                                struct gpio_callback* cb,
                                uint32_t pins)
{
    handle_button(InputType::A);
}

void Controls::b_button_pressed(const struct device *dev,
                                struct gpio_callback* cb,
                                uint32_t pins)
{
    handle_button(InputType::B);

}

void Controls::up_button_pressed(const struct device *dev,
                                    struct gpio_callback* cb,
                                    uint32_t pins)
{
    handle_button(InputType::UP);
}

void Controls::down_button_pressed(const struct device *dev,
                                    struct gpio_callback* cb,
                                    uint32_t pins)
{
    handle_button(InputType::DOWN);
}
```

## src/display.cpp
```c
#include "../inc/display.hh"

#include <zephyr/kernel.h>
#include <zephyr/logging/log.h>
LOG_MODULE_REGISTER(display, LOG_LEVEL_INF);

#include <lvgl.h>


Display::Display()
{
    init_display();
}


Display::~Display()
{
}

void Display::init_display()
{
	display_dev = DEVICE_DT_GET(DT_CHOSEN(zephyr_display));

	if (!device_is_ready(display_dev))
	{
		LOG_ERR("Device %s not found. Aborting sample.", display_dev->name);

		// return 0;
	}

	LOG_INF("Display sample for %s", display_dev->name);
	display_get_capabilities(display_dev, &capabilities);
    lv_init();
    lv_task_handler();
	display_blanking_off(display_dev);
}


void Display::draw_frame(graphics::frame_t& frame)
{
	// lv_task_handler();
}
```

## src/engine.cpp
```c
#include "../inc/engine.hh"

#include <zephyr/logging/log.h>
LOG_MODULE_REGISTER(engine, LOG_LEVEL_DBG);

namespace vroom
{

void Engine::process_input()
{
    auto last_control = p_controls->get_last_pressed();

    if(game_playing)
    {
        p_current_game->process_input(last_control);
    }
    else
    {
        main_menu.process_input(last_control);
    }
}


void Engine::process_frame()
{
    if(game_playing)
    {
        p_current_game->draw();
    }
    else
    {
        main_menu.draw();
    }
}


void Engine::process()
{
    // if game state changed
    // get current trigger map from game
    // set trigger map in controls
    process_input();
    process_frame();

    // Handle game opening & closing
    if(game_playing && p_current_game->ready_to_close())
    {
        open_menu();
    }
    else if(!game_playing && main_menu.ready_to_close())
    {
        auto new_game = main_menu.selected_game();
        start_game(new_game);
    }
}


void Engine::open_menu()
{
    game_playing = false;
    main_menu.show();
}


void Engine::load_game(GameType game)
{
    if(game == current_game)
    {
        if(p_current_game)
        {
            p_current_game->show();
            return;
        }
        else
        {
            delete p_current_game;
            p_current_game = new game::PongGame();
        }
    }

    current_game = game;

    StateBase* new_game { nullptr };

    switch(game)
    {
        case GameType::PONG:         new_game = new game::PongGame();  break;
        case GameType::WIFI_MANAGER:// new_game = new pages::Wifi(wifi_conn); break;
        case GameType::SNAKE:
        case GameType::GAMEBOY:
        case GameType::BT_CONTROLLER:
        case GameType::SERIAL_MONITOR:
        break;
    }

    if(new_game)
    {
        new_game->show();
        delete p_current_game;
        p_current_game = new_game;
        new_game = nullptr;
    }
}


void Engine::start_game(GameType game)
{
    LOG_INF("Start game: %d", static_cast<int>(game));
    load_game(game);
    // set button trigger map
    game_playing = true;
}

}
```
